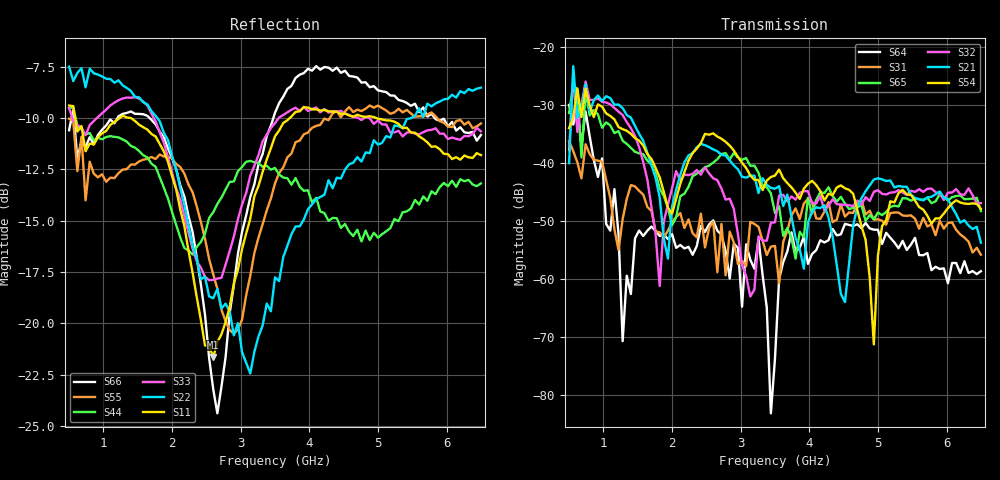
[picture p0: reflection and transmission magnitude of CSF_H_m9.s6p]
!Keysight Technologies,M9804A,MY58100912,A.14.10.03
!Date: Thursday, April 27, 2023 10:28:33
!Correction: S11(C  6-Port  )
!S12(C  6-Port  )
!S13(C  6-Port  )
!S14(C  6-Port  )
!S15(C  6-Port  )
!S16(C  6-Port  )
!S21(C  6-Port  )
!S22(C  6-Port  )
!S23(C  6-Port  )
!S24(C  6-Port  )
!S25(C  6-Port  )
!S26(C  6-Port  )
!S31(C  6-Port  )
!S32(C  6-Port  )
!S33(C  6-Port  )
!S34(C  6-Port  )
!S35(C  6-Port  )
!S36(C  6-Port  )
!S41(C  6-Port  )
!S42(C  6-Port  )
!S43(C  6-Port  )
!S44(C  6-Port  )
!S45(C  6-Port  )
!S46(C  6-Port  )
!S51(C  6-Port  )
!S52(C  6-Port  )
!S53(C  6-Port  )
!S54(C  6-Port  )
!S55(C  6-Port  )
!S56(C  6-Port  )
!S61(C  6-Port  )
!S62(C  6-Port  )
!S63(C  6-Port  )
!S64(C  6-Port  )
!S65(C  6-Port  )
!S66(C  6-Port  )
!S6P File: Measurement: :
# Hz S  RI  R 50
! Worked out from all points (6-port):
!   101 points, 500 MHz to 6.5 GHz, reference 50 ohm
!   strongest paths, dB at 500 MHz, 2 GHz, 3.5 GHz, 5 GHz, 6.5 GHz:
!     S54: -34.0, -48.7, -42.1, -55.9, -47.9
!     S21: -40.0, -47.4, -44.4, -42.6, -53.7
!     S32: -37.7, -44.3, -50.2, -44.6, -46.9
!     S65: -31.4, -50.7, -48.6, -48.5, -48.3
!     S31: -36.2, -50.1, -54.2, -49.7, -55.8
!     S64: -30.0, -52.2, -73.6, -51.5, -58.6
!   lowest |S11| = -21.6 dB at 2.6 GHz (marker M1), VSWR 1.18, Z = 42.6 + j1.97 ohm
!   |S11| at or under -10 dB: 587.8 MHz to 1.239 GHz (651.5 MHz wide, 71.3 % of centre); 1.385 GHz to 3.718 GHz (2.333 GHz wide, 91.4 % of centre); 4.97 GHz to end of sweep
